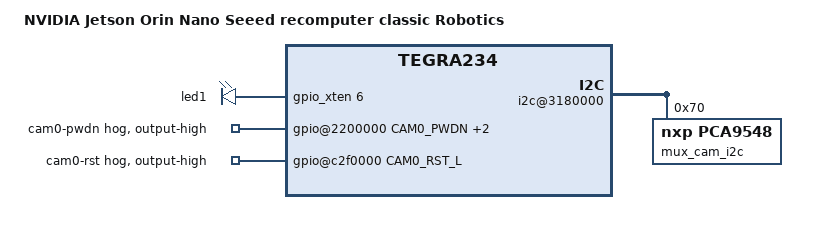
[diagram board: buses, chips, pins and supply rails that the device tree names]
// SPDX-License-Identifier: GPL-2.0-only
// SPDX-FileCopyrightText: Copyright (c) 2023, NVIDIA CORPORATION & AFFILIATES.  All rights reserved.

/dts-v1/;

#include "tegra234-j401-p3768-0000+p3767-recomputer-robo-common.dts"
//#include "tegra234-camera-quad-g300-overlay.dts"
// #include "tegra234-camera-quad-isx031c-overlay.dts"


#define CAM0_RST_L	TEGRA234_AON_GPIO(CC, 3)
#define CAM0_PWDN   TEGRA234_MAIN_GPIO(H, 6)
#define MFP9 TEGRA234_MAIN_GPIO(AC, 0)
#define MFP10  TEGRA234_MAIN_GPIO(Z, 7)

/ {
        compatible = "nvidia,p3768-0000+p3767-0000-super", "nvidia,p3767-0000", "nvidia,tegra234";
        model = "NVIDIA Jetson Orin Nano Seeed recomputer classic Robotics";
        leds {
                compatible = "gpio-leds";
                led1: led1 {
                        label = "led1";
                        gpios = <&gpio_xten 6 GPIO_ACTIVE_HIGH>;
                        default-state = "on";
                };
        };
        bus@0 {
			/* GPIO configuration */
			gpio@2200000 {
				camera-control-output-high {
					gpio-hog;
					output-high;
					gpios = <CAM0_PWDN 0 MFP9 0 MFP10 0>;
					label = "cam0-pwdn", "mfp9", "mfp10";
				};
			};

		gpio@c2f0000 {
			camera-control-output-high2 {
				gpio-hog;
				output-high;
				gpios = <CAM0_RST_L 0>;
				label = "cam0-rst";
			};
		};   

		i2c@3180000 {
			status = "okay";
			mux_cam_i2c: cam_i2cmux@70 {
				compatible = "nxp,pca9548";
				#address-cells = <1>;
				#size-cells = <0>;
				reg = <0x70>;
				idle-state = <0>;
				i2c@0{
					#address-cells = <1>;
					#size-cells = <0>;
					reg = <0>;
				};
			}; 
		};
            
     };
};




